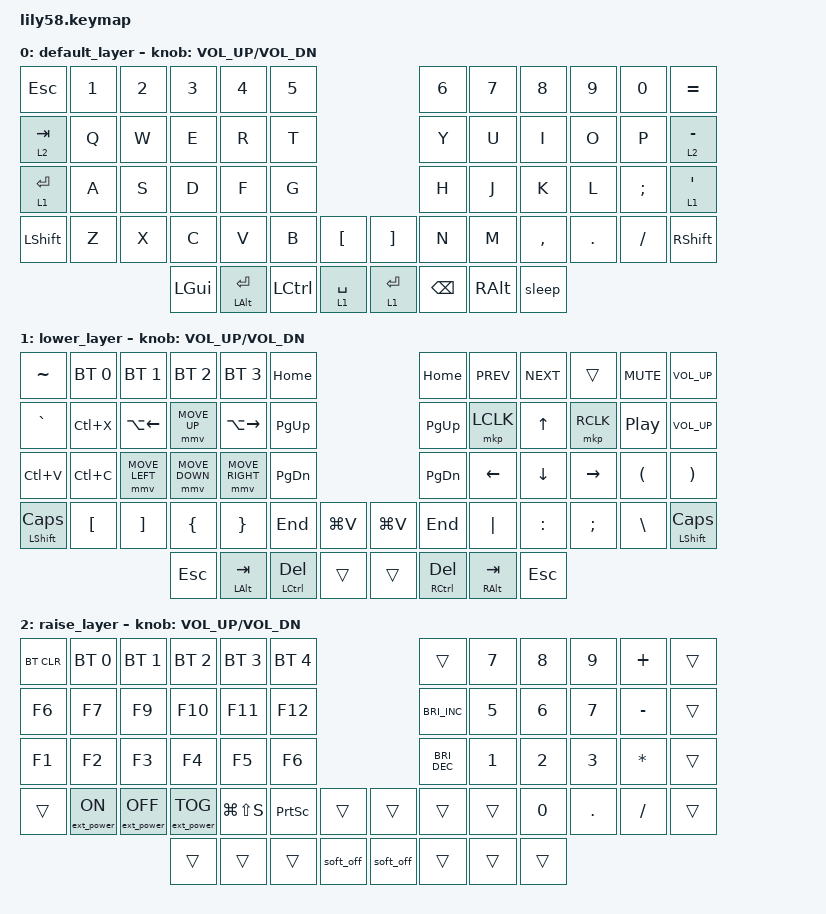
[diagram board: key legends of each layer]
/*
 * Copyright (c) 2020 The ZMK Contributors
 *
 * SPDX-License-Identifier: MIT
 */

#include <behaviors.dtsi>
#include <dt-bindings/zmk/bt.h>
#include <dt-bindings/zmk/ext_power.h>
#include <dt-bindings/zmk/keys.h>
#include <dt-bindings/zmk/pointing.h>

/ {
    macros {
        sleep: sleep {
            compatible = "zmk,behavior-macro";
            #binding-cells = <0>;
            bindings = <&kp LG(X) &kp U &kp S>, <&macro_press>;

            label = "SLEEP";
        };
    };

    keymap {
        compatible = "zmk,keymap";

        default_layer {
            // ------------------------------------------------------------------------------------------------------------
            // |  ESC  |  1  |  2  |  3   |  4   |  5   |                   |  6   |  7    |  8    |  9   |   0   |   `   |
            // |  TAB  |  Q  |  W  |  E   |  R   |  T   |                   |  Y   |  U    |  I    |  O   |   P   |   -   |
            // |  CTRL |  A  |  S  |  D   |  F   |  G   |                   |  H   |  J    |  K    |  L   |   ;   |   '   |
            // | SHIFT |  Z  |  X  |  C   |  V   |  B   |   "["  |  |  "]"  |  N   |  M    |  ,    |  .   |   /   | SHIFT |
            //                     | ALT  | GUI  | LOWER|  SPACE |  | ENTER | RAISE| BSPC  | GUI   |

            bindings = <
&kp ESC      &kp N1  &kp N2  &kp N3        &kp N4              &kp N5                                 &kp N6         &kp N7         &kp N8     &kp N9   &kp N0    &kp EQUAL
&lt 2 TAB    &kp Q   &kp W   &kp E         &kp R               &kp T                                  &kp Y          &kp U          &kp I      &kp O    &kp P     &lt 2 MINUS
&lt 1 ENTER  &kp A   &kp S   &kp D         &kp F               &kp G                                  &kp H          &kp J          &kp K      &kp L    &kp SEMI  &lt 1 APOSTROPHE
&kp LSHFT    &kp Z   &kp X   &kp C         &kp V               &kp B      &kp LBKT       &kp RBKT     &kp N          &kp M          &kp COMMA  &kp DOT  &kp FSLH  &kp RSHFT
                             &kp LEFT_GUI  &mt LEFT_ALT ENTER  &kp LCTRL  &lt 1 SPACE    &lt 1 ENTER  &kp BACKSPACE  &kp RIGHT_ALT  &sleep
            >;

            sensor-bindings = <&inc_dec_kp C_VOL_UP C_VOL_DN>;
        };

        lower_layer {
            // ------------------------------------------------------------------------------------------------------------
            // | BTCLR | BT1 | BT2 |  BT3 |  BT4 |  BT5 |                   |      |       |       |      |       |       |
            // |  F1   |  F2 |  F3 |  F4  |  F5  |  F6  |                   |  F7  |  F8   |  F9   |  F10 |  F11  |  F12  |
            // |   `   |  !  |  @  |  #   |  $   |  %   |                   |  ^   |  &    |  *    |  (   |   )   |   ~   |
            // |       |     |     |      |      |      |        |  |       |      |  _    |  +    |  {   |   }   |  "|"  |
            //                     |      |      |      |        |  |       |      |       |       |

            bindings = <
&kp TILDE            &bt BT_SEL 0      &bt BT_SEL 1       &bt BT_SEL 2    &bt BT_SEL 3      &kp HOME                               &kp HOME          &kp C_PREV         &kp C_NEXT      &trans     &kp C_MUTE            &kp C_VOL_UP
&kp GRAVE            &kp LC(X)         &kp LA(LEFT)       &mmv MOVE_UP    &kp LA(RIGHT)     &kp PAGE_UP                            &kp PAGE_UP       &mkp LCLK          &kp UP_ARROW    &mkp RCLK  &kp C_PLAY_PAUSE      &kp C_VOLUME_UP
&kp LC(V)            &kp LC(C)         &mmv MOVE_LEFT     &mmv MOVE_DOWN  &mmv MOVE_RIGHT   &kp PAGE_DOWN                          &kp PAGE_DOWN     &kp LEFT           &kp DOWN_ARROW  &kp RIGHT  &kp LEFT_PARENTHESIS  &kp RIGHT_PARENTHESIS
&mt LEFT_SHIFT CAPS  &kp LEFT_BRACKET  &kp RIGHT_BRACKET  &kp LEFT_BRACE  &kp RIGHT_BRACE   &kp END        &kp LG(V)    &kp LG(V)  &kp END           &kp PIPE           &kp COLON       &kp SEMI   &kp BACKSLASH         &mt LEFT_SHIFT CAPSLOCK
                                                          &kp ESCAPE      &mt LEFT_ALT TAB  &mt LCTRL DEL  &trans       &trans     &mt RCTRL DELETE  &mt RIGHT_ALT TAB  &kp ESCAPE
            >;

            sensor-bindings = <&inc_dec_kp C_VOL_UP C_VOL_DN>;
        };

        raise_layer {
            // ------------------------------------------------------------------------------------------------------------
            // |       |     |     |      |      |      |                   |      |       |       |      |       |       |
            // |   `   |  1  |  2  |  3   |  4   |  5   |                   |  6   |   7   |   8   |  9   |   0   |       |
            // |   F1  |  F2 |  F3 |  F4  |  F5  |  F6  |                   |      |   <-  |   v   |  ^   |  ->   |       |
            // |   F7  |  F8 |  F9 |  F10 |  F11 |  F12 |        |  |       |  +   |   -   |   =   |  [   |   ]   |   \   |
            //                     |      |      |      |        |  |       |      |       |       |

            bindings = <
&bt BT_CLR  &bt BT_SEL 0      &bt BT_SEL 1       &bt BT_SEL 2       &bt BT_SEL 3   &bt BT_SEL 4                             &trans         &kp N7  &kp N8  &kp N9   &kp PLUS   &trans
&kp F6      &kp F7            &kp F9             &kp F10            &kp F11        &kp F12                                  &kp C_BRI_INC  &kp N5  &kp N6  &kp N7   &kp MINUS  &trans
&kp F1      &kp F2            &kp F3             &kp F4             &kp F5         &kp F6                                   &kp C_BRI_DEC  &kp N1  &kp N2  &kp N3   &kp STAR   &trans
&trans      &ext_power EP_ON  &ext_power EP_OFF  &ext_power EP_TOG  &kp LG(LS(S))  &kp PRINTSCREEN  &trans       &trans     &trans         &trans  &kp N0  &kp DOT  &kp SLASH  &trans
                                                 &trans             &trans         &trans           &soft_off    &soft_off  &trans         &trans  &trans
            >;

            sensor-bindings = <&inc_dec_kp C_VOL_UP C_VOL_DN>;
        };
    };
};
